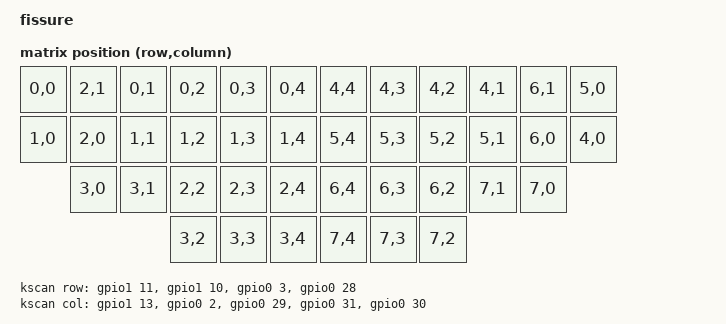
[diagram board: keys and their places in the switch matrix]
/dts-v1/;
#include <nordic/nrf52840_qiaa.dtsi>
#include <dt-bindings/zmk/matrix_transform.h>

#define CAT2_(a, b) a ## b
#define CAT2(a, b) CAT2_(a,b)
#define PIX(c, rgb) PIX_(c, rgb)
#define RGB_(c, xyz) RGB(c, xyz)
#define PIX_(c, rgb) RGB_(SW(CAT2(A, c)), FOR_EACH(CS, (,), CAT2(RGB_CS, rgb)))
#define BGR_SCALING 255 255 255
//255 200 180

#define A0 4
#define A1 3
#define A2 2
#define A3 1

/ {
    model = "fissure";
    compatible = "fissure";

    chosen {
        zephyr,code-partition = &code_partition;
        zephyr,sram = &sram0;
        zephyr,flash = &flash0;
        zmk,kscan = &kscan;
		zmk,matrix_transform = &transform;
        zmk,steno-flash = &steno_flash;
        zmk,battery = &vbat;
        zmk,led-widgets-dev = &rgb;
    };

	transform: transform {
		compatible = "zmk,matrix-transform";
		columns = <12>;
		rows = <4>;
		map = <
RC(0,0) RC(2,1) RC(0,1) RC(0,2) RC(0,3) RC(0,4)   RC(4,4) RC(4,3) RC(4,2) RC(4,1) RC(6,1) RC(5,0)
RC(1,0) RC(2,0) RC(1,1) RC(1,2) RC(1,3) RC(1,4)   RC(5,4) RC(5,3) RC(5,2) RC(5,1) RC(6,0) RC(4,0)
        RC(3,0) RC(3,1) RC(2,2) RC(2,3) RC(2,4)   RC(6,4) RC(6,3) RC(6,2) RC(7,1) RC(7,0)
                        RC(3,2) RC(3,3) RC(3,4)   RC(7,4) RC(7,3) RC(7,2)
		>;
	};

    kscan: kscan {
        compatible = "zmk,kscan-gpio-matrix";
        diode-direction = "row2col";
        row-gpios
            = <&gpio1 11 GPIO_ACTIVE_HIGH>
            , <&gpio1 10 GPIO_ACTIVE_HIGH>
            , <&gpio0  3 GPIO_ACTIVE_HIGH>
            , <&gpio0 28 GPIO_ACTIVE_HIGH>
            ;
        col-gpios
            = <&gpio1 13 (GPIO_ACTIVE_HIGH | GPIO_PULL_DOWN)>
            , <&gpio0  2 (GPIO_ACTIVE_HIGH | GPIO_PULL_DOWN)>
            , <&gpio0 29 (GPIO_ACTIVE_HIGH | GPIO_PULL_DOWN)>
            , <&gpio0 31 (GPIO_ACTIVE_HIGH | GPIO_PULL_DOWN)>
            , <&gpio0 30 (GPIO_ACTIVE_HIGH | GPIO_PULL_DOWN)>
            ;
    };


    vbat: vbat {
        compatible = "zmk,battery-voltage-divider";
        io-channels = <&adc 3>;
        power-gpios = <&gpio1 9 (GPIO_ACTIVE_LOW | GPIO_PULL_UP)>;
        output-ohms = <100000>;
        full-ohms = <(100000 + 100000)>;
    };
};

&i2c0 {
    compatible = "nordic,nrf-twi";
    status = "okay";
    pinctrl-0 = <&i2c0_def>;
    pinctrl-1 = <&i2c0_slp>;
    pinctrl-names = "default", "sleep";
	rgb: is31fl3729@34 {
        compatible = "issi,is31fl3729";
        status = "okay";
        reg = <0x34>;
        r-ext = <10>;
        led-max-current = <1>;
        sw-setting = <5>;           // first 4 SW lines
        pwm-frequency = <5>;        // 0.5kHz
        chain-length = <60>;
        scaling = <BGR_SCALING BGR_SCALING BGR_SCALING BGR_SCALING BGR_SCALING 0>;
    };
};

&spi1 {
    compatible = "nordic,nrf-spim";
    status = "okay";
    pinctrl-0 = <&spi1_def>;
    pinctrl-1 = <&spi1_slp>;
    pinctrl-names = "default", "sleep";

    steno_flash: nor-flash@0 {
        reg = <0>;
        compatible = "jedec,spi-nor";
        status = "okay";
        spi-max-frequency = <8000000>;
        size = <0x8000000>;
        has-dpd;
        t-enter-dpd = <3000>;
        t-exit-dpd = <30000>;
        jedec-id = [ef 40 18];
    };
};

&adc {
    status = "okay";
};

&gpiote {
    status = "okay";
};

&gpio0 {
    status = "okay";
};

&gpio1 {
    status = "okay";
};

&usbd {
    status = "okay";
};


&flash0 {
    /*
     * For more information, see:
     * http://docs.zephyrproject.org/latest/devices/dts/flash_partitions.html
     */
    partitions {
        compatible = "fixed-partitions";
        #address-cells = <1>;
        #size-cells = <1>;

        code_partition: partition@0 {
            label = "code_partition";
            reg = <0x00000000 0x000e0000>;
        };

        /*
         * Storage partition will be used by FCB/LittleFS/NVS
         * if enabled.
         */
        storage_partition: partition@e0000 {
            label = "storage";
            reg = <0x000e0000 0x00020000>;
        };
    };
};
